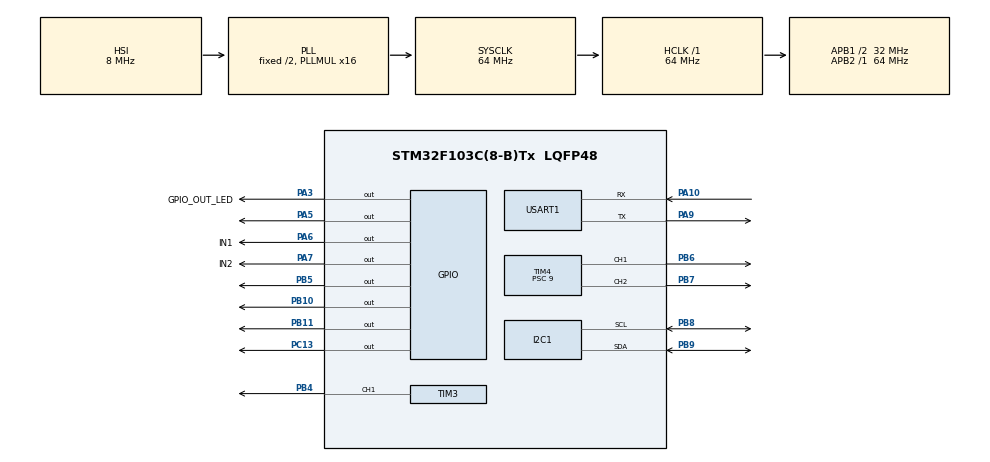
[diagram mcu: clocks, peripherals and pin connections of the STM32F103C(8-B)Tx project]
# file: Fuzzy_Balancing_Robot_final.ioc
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FREERTOS.Tasks01=defaultTask,24,128,StartDefaultTask,Default,NULL,Dynamic,NULL,NULL
Mcu.Family=STM32F1
Mcu.Name=STM32F103C(8-B)Tx
Mcu.Package=LQFP48
NVIC.PriorityGroup=NVIC_PRIORITYGROUP_4
NVIC.TIM1_UP_IRQn=true\:5\:0\:false\:false\:true\:true\:true\:true\:true
PA10.Mode=Asynchronous
PA10.Signal=USART1_RX
PA13.Mode=Serial_Wire
PA13.Signal=SYS_JTMS-SWDIO
PA14.Mode=Serial_Wire
PA14.Signal=SYS_JTCK-SWCLK
PA3.GPIO_Label=GPIO_OUT_LED
PA3.Signal=GPIO_Output
PA5.Signal=GPIO_Output
PA6.GPIO_Label=IN1
PA6.Signal=GPIO_Output
PA7.GPIO_Label=IN2
PA7.Signal=GPIO_Output
PA9.Mode=Asynchronous
PA9.Signal=USART1_TX
PB10.Signal=GPIO_Output
PB11.Signal=GPIO_Output
PB4.Signal=S_TIM3_CH1
PB5.Signal=GPIO_Output
PB6.Signal=S_TIM4_CH1
PB7.Signal=S_TIM4_CH2
PB8.Mode=I2C
PB8.Signal=I2C1_SCL
PB9.Mode=I2C
PB9.Signal=I2C1_SDA
PC13-TAMPER-RTC.Signal=GPIO_Output
PD0-OSC_IN.Mode=HSE-External-Oscillator
PD0-OSC_IN.Signal=RCC_OSC_IN
PD1-OSC_OUT.Mode=HSE-External-Oscillator
PD1-OSC_OUT.Signal=RCC_OSC_OUT
ProjectManager.HeapSize=0x200
ProjectManager.StackSize=0x400
ProjectManager.TargetToolchain=STM32CubeIDE
RCC.AHBFreq_Value=64000000
RCC.APB1CLKDivider=RCC_HCLK_DIV2
RCC.APB1Freq_Value=32000000
RCC.APB1TimFreq_Value=64000000
RCC.APB2Freq_Value=64000000
RCC.APB2TimFreq_Value=64000000
RCC.HCLKFreq_Value=64000000
RCC.PLLMUL=RCC_PLL_MUL16
RCC.SYSCLKFreq_VALUE=64000000
RCC.SYSCLKSource=RCC_SYSCLKSOURCE_PLLCLK
RCC.USBFreq_Value=64000000
SH.S_TIM3_CH1.0=TIM3_CH1,PWM Generation1 CH1
SH.S_TIM4_CH1.0=TIM4_CH1,PWM Generation1 CH1
SH.S_TIM4_CH2.0=TIM4_CH2,PWM Generation2 CH2
TIM1.Period=499
TIM1.Prescaler=639
TIM3.Channel-PWM\ Generation1\ CH1=TIM_CHANNEL_1
TIM3.Period=3199
TIM3.Prescaler=9
TIM4.Channel-PWM\ Generation1\ CH1=TIM_CHANNEL_1
TIM4.Channel-PWM\ Generation2\ CH2=TIM_CHANNEL_2
TIM4.Period=3199
TIM4.Prescaler=9
USART1.VirtualMode=VM_ASYNC
VP_FREERTOS_VS_CMSIS_V2.Mode=CMSIS_V2
VP_TIM1_VS_ClockSourceINT.Mode=Internal
board=custom

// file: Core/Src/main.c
/* USER CODE BEGIN Header */
/**
  ******************************************************************************
  * @file           : main.c
  * @brief          : Main program body
  ******************************************************************************
  * @attention
  *
  * Copyright (c) 2024 STMicroelectronics.
  * All rights reserved.
  *
  * This software is licensed under terms that can be found in the LICENSE file
  * in the root directory of this software component.
  * If no LICENSE file comes with this software, it is provided AS-IS.
  *
  ******************************************************************************
  */
/* USER CODE END Header */
#include "main.h"
#include "cmsis_os.h"

/* USER CODE BEGIN Includes */
#include "mpu6050.h"
#include "fuzzy.h"
#include "FreeRTOS.h"
#include "queue.h"
/* USER CODE END Includes */

/* USER CODE BEGIN PTD */
typedef struct {
	float input[2];
	float uk_fuzzy;
	float theta;
	float theta_dot;
} Para_Robot;
/* USER CODE END PTD */

/* USER CODE BEGIN PD */
#define THETA_OFFSET 2.5
#define THETA_OVER 60
#define PI 3.14159265358979323846
#define K_THETA 9
#define K_THETA_DOT 100
#define K_UK_FUZZY 3199
/* USER CODE END PD */

I2C_HandleTypeDef hi2c1;

TIM_HandleTypeDef htim1;
TIM_HandleTypeDef htim3;
TIM_HandleTypeDef htim4;

UART_HandleTypeDef huart1;

/* Definitions for defaultTask */
osThreadId_t defaultTaskHandle;
const osThreadAttr_t defaultTask_attributes = {
  .name = "defaultTask",
  .stack_size = 128 * 4,
  .priority = (osPriority_t) osPriorityNormal,
};
/* USER CODE BEGIN PV */
//MPU6050_t MPU6050;
Para_Robot Parameters;
char forward, reverse;
QueueHandle_t queue_id;
/* USER CODE END PV */

void SystemClock_Config(void);
static void MX_GPIO_Init(void);
static void MX_TIM3_Init(void);
static void MX_USART1_UART_Init(void);
static void MX_TIM1_Init(void);
static void MX_I2C1_Init(void);
static void MX_TIM4_Init(void);
void StartDefaultTask(void *argument);

/* USER CODE BEGIN PFP */
void Init_All();
void Fuzzy_Process();
void motor_forward();
void motor_reverse();
void motor_stop();
void pwm_out(float duty);
void vTaskReadMPU6050(void *argument);
void vTaskFuzzyProcess(void *argument);

/* USER CODE END PFP */

int main(void)
{

  /* MCU Configuration--------------------------------------------------------*/

  /* Reset of all peripherals, Initializes the Flash interface and the Systick. */
  HAL_Init();

  /* Configure the system clock */
  SystemClock_Config();

  /* Initialize all configured peripherals */
  MX_GPIO_Init();
  MX_TIM3_Init();
  MX_USART1_UART_Init();
  MX_TIM1_Init();
  MX_I2C1_Init();
  MX_TIM4_Init();
  Init_All();

  /* Init scheduler */
  osKernelInitialize();

  /* USER CODE BEGIN RTOS_QUEUES */
  queue_id = xQueueCreate(10, sizeof(MPU6050_t));
  /* add queues, ... */
  /* USER CODE END RTOS_QUEUES */

  /* Create the thread(s) */
  /* creation of defaultTask */
  defaultTaskHandle = osThreadNew(StartDefaultTask, NULL, &defaultTask_attributes);

  /* USER CODE BEGIN RTOS_THREADS */
  osThreadNew(vTaskReadMPU6050, NULL, NULL);
  osThreadNew(vTaskFuzzyProcess, NULL, NULL);
  /* USER CODE END RTOS_THREADS */

  /* Start scheduler */
  osKernelStart();

  /* We should never get here as control is now taken by the scheduler */

  /* Infinite loop */
  while (1)
  {

  }
}

void SystemClock_Config(void)
{
  RCC_OscInitTypeDef RCC_OscInitStruct = {0};
  RCC_ClkInitTypeDef RCC_ClkInitStruct = {0};

  /** Initializes the RCC Oscillators according to the specified parameters
  * in the RCC_OscInitTypeDef structure.
  */
  RCC_OscInitStruct.OscillatorType = RCC_OSCILLATORTYPE_HSI;
  RCC_OscInitStruct.HSIState = RCC_HSI_ON;
  RCC_OscInitStruct.HSICalibrationValue = RCC_HSICALIBRATION_DEFAULT;
  RCC_OscInitStruct.PLL.PLLState = RCC_PLL_ON;
  RCC_OscInitStruct.PLL.PLLSource = RCC_PLLSOURCE_HSI_DIV2;
  RCC_OscInitStruct.PLL.PLLMUL = RCC_PLL_MUL16;
  if (HAL_RCC_OscConfig(&RCC_OscInitStruct) != HAL_OK)
  {
    Error_Handler();
  }

  /** Initializes the CPU, AHB and APB buses clocks
  */
  RCC_ClkInitStruct.ClockType = RCC_CLOCKTYPE_HCLK|RCC_CLOCKTYPE_SYSCLK
                              |RCC_CLOCKTYPE_PCLK1|RCC_CLOCKTYPE_PCLK2;
  RCC_ClkInitStruct.SYSCLKSource = RCC_SYSCLKSOURCE_PLLCLK;
  RCC_ClkInitStruct.AHBCLKDivider = RCC_SYSCLK_DIV1;
  RCC_ClkInitStruct.APB1CLKDivider = RCC_HCLK_DIV2;
  RCC_ClkInitStruct.APB2CLKDivider = RCC_HCLK_DIV1;

  if (HAL_RCC_ClockConfig(&RCC_ClkInitStruct, FLASH_LATENCY_2) != HAL_OK)
  {
    Error_Handler();
  }
}

static void MX_I2C1_Init(void)
{

  hi2c1.Instance = I2C1;
  hi2c1.Init.ClockSpeed = 100000;
  hi2c1.Init.DutyCycle = I2C_DUTYCYCLE_2;
  hi2c1.Init.OwnAddress1 = 0;
  hi2c1.Init.AddressingMode = I2C_ADDRESSINGMODE_7BIT;
  hi2c1.Init.DualAddressMode = I2C_DUALADDRESS_DISABLE;
  hi2c1.Init.OwnAddress2 = 0;
  hi2c1.Init.GeneralCallMode = I2C_GENERALCALL_DISABLE;
  hi2c1.Init.NoStretchMode = I2C_NOSTRETCH_DISABLE;
  if (HAL_I2C_Init(&hi2c1) != HAL_OK)
  {
    Error_Handler();
  }

}

static void MX_TIM1_Init(void)
{

  TIM_ClockConfigTypeDef sClockSourceConfig = {0};
  TIM_MasterConfigTypeDef sMasterConfig = {0};

  htim1.Instance = TIM1;
  htim1.Init.Prescaler = 639;
  htim1.Init.CounterMode = TIM_COUNTERMODE_UP;
  htim1.Init.Period = 499;
  htim1.Init.ClockDivision = TIM_CLOCKDIVISION_DIV1;
  htim1.Init.RepetitionCounter = 0;
  htim1.Init.AutoReloadPreload = TIM_AUTORELOAD_PRELOAD_DISABLE;
  if (HAL_TIM_Base_Init(&htim1) != HAL_OK)
  {
    Error_Handler();
  }
  sClockSourceConfig.ClockSource = TIM_CLOCKSOURCE_INTERNAL;
  if (HAL_TIM_ConfigClockSource(&htim1, &sClockSourceConfig) != HAL_OK)
  {
    Error_Handler();
  }
  sMasterConfig.MasterOutputTrigger = TIM_TRGO_RESET;
  sMasterConfig.MasterSlaveMode = TIM_MASTERSLAVEMODE_DISABLE;
  if (HAL_TIMEx_MasterConfigSynchronization(&htim1, &sMasterConfig) != HAL_OK)
  {
    Error_Handler();
  }

}

static void MX_TIM3_Init(void)
{

  TIM_MasterConfigTypeDef sMasterConfig = {0};
  TIM_OC_InitTypeDef sConfigOC = {0};

  htim3.Instance = TIM3;
  htim3.Init.Prescaler = 9;
  htim3.Init.CounterMode = TIM_COUNTERMODE_UP;
  htim3.Init.Period = 3199;
  htim3.Init.ClockDivision = TIM_CLOCKDIVISION_DIV1;
  htim3.Init.AutoReloadPreload = TIM_AUTORELOAD_PRELOAD_DISABLE;
  if (HAL_TIM_PWM_Init(&htim3) != HAL_OK)
  {
    Error_Handler();
  }
  sMasterConfig.MasterOutputTrigger = TIM_TRGO_RESET;
  sMasterConfig.MasterSlaveMode = TIM_MASTERSLAVEMODE_DISABLE;
  if (HAL_TIMEx_MasterConfigSynchronization(&htim3, &sMasterConfig) != HAL_OK)
  {
    Error_Handler();
  }
  sConfigOC.OCMode = TIM_OCMODE_PWM1;
  sConfigOC.Pulse = 0;
  sConfigOC.OCPolarity = TIM_OCPOLARITY_HIGH;
  sConfigOC.OCFastMode = TIM_OCFAST_DISABLE;
  if (HAL_TIM_PWM_ConfigChannel(&htim3, &sConfigOC, TIM_CHANNEL_1) != HAL_OK)
  {
    Error_Handler();
  }
  HAL_TIM_MspPostInit(&htim3);

}

static void MX_TIM4_Init(void)
{

  TIM_MasterConfigTypeDef sMasterConfig = {0};
  TIM_OC_InitTypeDef sConfigOC = {0};

  htim4.Instance = TIM4;
  htim4.Init.Prescaler = 9;
  htim4.Init.CounterMode = TIM_COUNTERMODE_UP;
  htim4.Init.Period = 3199;
  htim4.Init.ClockDivision = TIM_CLOCKDIVISION_DIV1;
  htim4.Init.AutoReloadPreload = TIM_AUTORELOAD_PRELOAD_DISABLE;
  if (HAL_TIM_PWM_Init(&htim4) != HAL_OK)
  {
    Error_Handler();
  }
  sMasterConfig.MasterOutputTrigger = TIM_TRGO_RESET;
  sMasterConfig.MasterSlaveMode = TIM_MASTERSLAVEMODE_DISABLE;
  if (HAL_TIMEx_MasterConfigSynchronization(&htim4, &sMasterConfig) != HAL_OK)
  {
    Error_Handler();
  }
  sConfigOC.OCMode = TIM_OCMODE_PWM1;
  sConfigOC.Pulse = 0;
  sConfigOC.OCPolarity = TIM_OCPOLARITY_HIGH;
  sConfigOC.OCFastMode = TIM_OCFAST_DISABLE;
  if (HAL_TIM_PWM_ConfigChannel(&htim4, &sConfigOC, TIM_CHANNEL_1) != HAL_OK)
  {
    Error_Handler();
  }
  if (HAL_TIM_PWM_ConfigChannel(&htim4, &sConfigOC, TIM_CHANNEL_2) != HAL_OK)
  {
    Error_Handler();
  }
  HAL_TIM_MspPostInit(&htim4);

}

static void MX_USART1_UART_Init(void)
{

  huart1.Instance = USART1;
  huart1.Init.BaudRate = 115200;
  huart1.Init.WordLength = UART_WORDLENGTH_8B;
  huart1.Init.StopBits = UART_STOPBITS_1;
  huart1.Init.Parity = UART_PARITY_NONE;
  huart1.Init.Mode = UART_MODE_TX_RX;
  huart1.Init.HwFlowCtl = UART_HWCONTROL_NONE;
  huart1.Init.OverSampling = UART_OVERSAMPLING_16;
  if (HAL_UART_Init(&huart1) != HAL_OK)
  {
    Error_Handler();
  }

}

static void MX_GPIO_Init(void)
{
  GPIO_InitTypeDef GPIO_InitStruct = {0};

  /* GPIO Ports Clock Enable */
  __HAL_RCC_GPIOC_CLK_ENABLE();
  __HAL_RCC_GPIOD_CLK_ENABLE();
  __HAL_RCC_GPIOA_CLK_ENABLE();
  __HAL_RCC_GPIOB_CLK_ENABLE();

  /*Configure GPIO pin Output Level */
  HAL_GPIO_WritePin(GPIOC, GPIO_PIN_13, GPIO_PIN_RESET);

  /*Configure GPIO pin Output Level */
  HAL_GPIO_WritePin(GPIOA, GPIO_OUT_LED_Pin|GPIO_PIN_5|IN1_Pin|IN2_Pin, GPIO_PIN_RESET);

  /*Configure GPIO pin Output Level */
  HAL_GPIO_WritePin(GPIOB, GPIO_PIN_10|GPIO_PIN_11|GPIO_PIN_5, GPIO_PIN_RESET);

  /*Configure GPIO pin : PC13 */
  GPIO_InitStruct.Pin = GPIO_PIN_13;
  GPIO_InitStruct.Mode = GPIO_MODE_OUTPUT_PP;
  GPIO_InitStruct.Pull = GPIO_NOPULL;
  GPIO_InitStruct.Speed = GPIO_SPEED_FREQ_LOW;
  HAL_GPIO_Init(GPIOC, &GPIO_InitStruct);

  /*Configure GPIO pins : GPIO_OUT_LED_Pin PA5 IN1_Pin IN2_Pin */
  GPIO_InitStruct.Pin = GPIO_OUT_LED_Pin|GPIO_PIN_5|IN1_Pin|IN2_Pin;
  GPIO_InitStruct.Mode = GPIO_MODE_OUTPUT_PP;
  GPIO_InitStruct.Pull = GPIO_NOPULL;
  GPIO_InitStruct.Speed = GPIO_SPEED_FREQ_LOW;
  HAL_GPIO_Init(GPIOA, &GPIO_InitStruct);

  /*Configure GPIO pins : PB10 PB11 PB5 */
  GPIO_InitStruct.Pin = GPIO_PIN_10|GPIO_PIN_11|GPIO_PIN_5;
  GPIO_InitStruct.Mode = GPIO_MODE_OUTPUT_PP;
  GPIO_InitStruct.Pull = GPIO_NOPULL;
  GPIO_InitStruct.Speed = GPIO_SPEED_FREQ_LOW;
  HAL_GPIO_Init(GPIOB, &GPIO_InitStruct);

}

/* USER CODE BEGIN 4 */
void Init_All()
{
	while (MPU6050_Init(&hi2c1) == 1);
	HAL_TIM_Base_Start_IT(&htim1);
	HAL_TIM_PWM_Start(&htim3, TIM_CHANNEL_1);
	HAL_TIM_PWM_Start(&htim4, TIM_CHANNEL_2);
}
void motor_forward()
{
	HAL_GPIO_WritePin(GPIOA, GPIO_PIN_6, 1); //IN1
	HAL_GPIO_WritePin(GPIOA, GPIO_PIN_7, 0); //IN2
	HAL_GPIO_WritePin(GPIOB, GPIO_PIN_10, 1); //IN3
	HAL_GPIO_WritePin(GPIOB, GPIO_PIN_5, 0); //IN4
}

void motor_reverse()
{
	HAL_GPIO_WritePin(GPIOA, GPIO_PIN_6, 0); //IN1
	HAL_GPIO_WritePin(GPIOA, GPIO_PIN_7, 1); //IN2
	HAL_GPIO_WritePin(GPIOB, GPIO_PIN_10, 0); //IN3
	HAL_GPIO_WritePin(GPIOB, GPIO_PIN_5, 1); //IN4
}

void motor_stop()
{
	HAL_GPIO_WritePin(GPIOA, GPIO_PIN_6, 0); //IN1
	HAL_GPIO_WritePin(GPIOA, GPIO_PIN_7, 0); //IN2
	HAL_GPIO_WritePin(GPIOB, GPIO_PIN_10, 0); //IN3
	HAL_GPIO_WritePin(GPIOB, GPIO_PIN_5, 0); //IN4
	pwm_out(0);
}

void pwm_out(float duty) //duty 0->1 (not 0->100), uk -1->1
{
	if (duty > 1) duty = 1;
	if (duty < 0) duty = 0;
	htim3.Instance->CCR1 = (htim3.Instance->ARR) * (duty); //hardware
	htim4.Instance->CCR2 = (htim4.Instance->ARR) * (duty);
}
void vTaskReadMPU6050(void *argument)
{
	MPU6050_t mpu_data;

    for(;;)
    {
        //
        MPU6050_Read_All(&hi2c1, &mpu_data);

        // Gửi dữ liệu vào queue
        osMessageQueuePut(queue_id, &mpu_data, 0, osWaitForever);

        // Delay để task khác có cơ hội chạy
        osDelay(100); // 100 ms
    }
}
void vTaskFuzzyProcess(void *argument)
{
	MPU6050_t mpu_data;

    for(;;)
    {
        // Nhận dữ liệu từ queue
        if(osMessageQueueGet(queue_id, &mpu_data, NULL, osWaitForever) == osOK)
        {
            // Cập nhật dữ liệu vào cấu trúc Parameters
            Parameters.theta = mpu_data.KalmanAngleY + THETA_OFFSET;
            Parameters.theta_dot = mpu_data.Gy;
            Parameters.input[0] = Parameters.theta * (1.0f/K_THETA);
            Parameters.input[1] = Parameters.theta_dot * (1.0f/K_THETA_DOT);

            // Giới hạn đầu vào
            limit_range(&(Parameters.input[0]));
            limit_range(&(Parameters.input[1]));

            // Chạy thuật toán fuzzy
            Parameters.uk_fuzzy = run_fuzzy(Parameters.input[0], Parameters.input[1]) * K_UK_FUZZY;
            Parameters.uk_fuzzy *= (1.0f/3199);

            // �?i�?u khiển động cơ dựa trên kết quả fuzzy
            if (Parameters.theta < -THETA_OVER || Parameters.theta > THETA_OVER)
            {
                motor_stop();
            }
            else if (Parameters.uk_fuzzy > 0)
            {
                motor_forward();
                pwm_out(Parameters.uk_fuzzy);
                forward = 1;
                reverse = 0;
            }
            else if (Parameters.uk_fuzzy < 0)
            {
                motor_reverse();
                pwm_out(-Parameters.uk_fuzzy);
                forward = 0;
                reverse = 1;
            }
            else
            {
                motor_stop();
            }
        }
    }
}

/* USER CODE END 4 */

void StartDefaultTask(void *argument)
{
  for(;;)
  {
    osDelay(1);
  }
}

void Error_Handler(void)
{
  __disable_irq();
  while (1)
  {
  }
}
